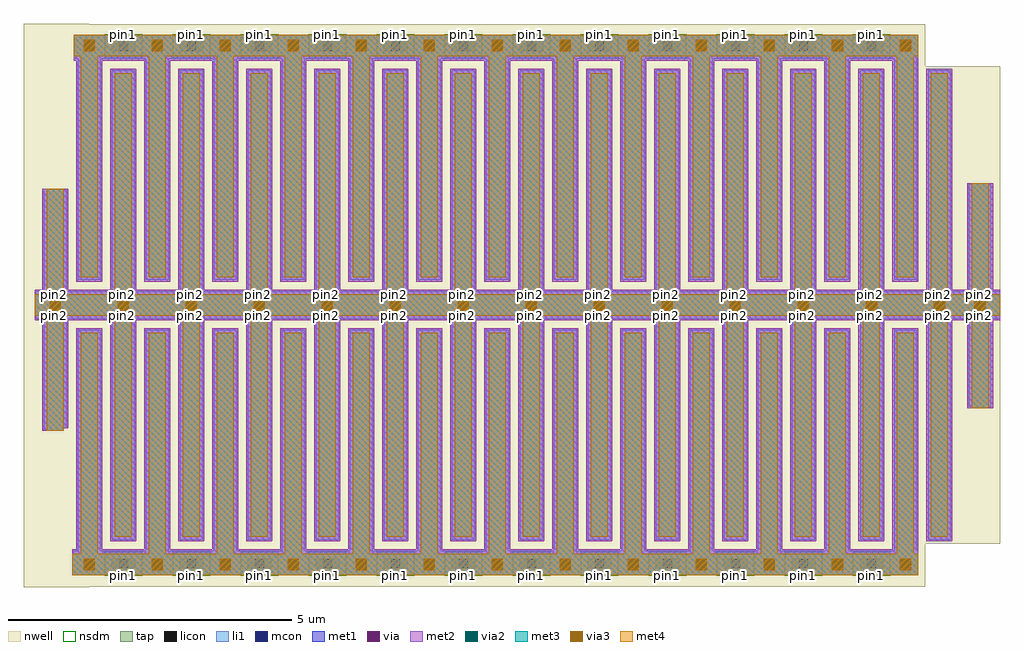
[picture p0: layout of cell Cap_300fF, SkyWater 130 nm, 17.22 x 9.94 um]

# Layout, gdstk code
import gdstk
lib = gdstk.Library(unit=1e-6, precision=1e-09)
def R(c, l, rs):  # rectangles x0, y0, x1, y1
    for r in rs: c.add(gdstk.rectangle(r[:2], r[2:], *l))
def A(c, l, x, y, w, h, nx, ny, dx, dy):  # array of equal rectangles
    R(c, l, [(x+i*dx, y+j*dy, x+i*dx+w, y+j*dy+h) for i in range(nx) for j in range(ny)])
nwell = (64, 20)
tap = (65, 44)
licon = (66, 44)
li1 = (67, 20)
mcon = (67, 44)
met1 = (68, 20)
via = (68, 44)
met2 = (69, 20)
via2 = (69, 44)
met3 = (70, 20)
via3 = (70, 44)
met4 = (71, 20)
nsdm = (93, 44)

cap_300ff = lib.new_cell('Cap_300fF')
R(cap_300ff, nwell, [(-1,-0.29,0.15,-0.28), (-1,-0.28,14.9,0.48), (-1,0.48,16.22,8.9), (-1,8.9,14.9,9.64), (-1,9.64,0.15,9.65)])
A(cap_300ff, tap, 0.55, 0.04, 0.41, 0.17, 12, 2, 1.2, 9.13)
A(cap_300ff, licon, 0.67, 0.04, 0.17, 0.17, 12, 2, 1.2, 9.13)
A(cap_300ff, li1, -0.05, 0.35, 0.4, 3.9, 13, 2, 1.2, 4.78)
A(cap_300ff, li1, 0.55, 0.55, 0.4, 3.9, 13, 2, 1.2, 4.38)
R(cap_300ff, li1, [(-0.15,-0.08,14.78,0.35), (-0.65,2.47,-0.3,2.51), (-0.65,2.51,-0.25,4.45), (15.67,2.87,16.07,4.45), (-0.81,4.45,16.22,4.93), (-0.65,4.93,-0.25,6.74), (15.67,4.93,16.07,6.84), (-0.12,9.03,14.78,9.46)])
A(cap_300ff, mcon, 0.065, 0.025, 0.17, 0.17, 13, 2, 1.2, 9.16)
A(cap_300ff, mcon, -0.535, 4.605, 0.17, 0.17, 14, 1, 1.2, 0)
R(cap_300ff, mcon, [(15.785,4.605,15.955,4.775)])
A(cap_300ff, met1, -0.08, 0.38, 0.46, 3.9, 13, 2, 1.2, 4.72)
A(cap_300ff, met1, 0.52, 0.52, 0.46, 3.9, 13, 2, 1.2, 4.44)
R(cap_300ff, met1, [(-0.15,-0.08,14.78,0.38), (-0.68,2.47,-0.3,2.51), (-0.68,2.51,-0.22,4.42), (15.64,2.87,16.1,4.42), (-0.81,4.42,16.22,4.96), (-0.68,4.96,-0.22,6.74), (15.64,4.96,16.1,6.84), (-0.12,9,14.78,9.46)])
A(cap_300ff, via, 0.075, 0.035, 0.15, 0.15, 13, 2, 1.2, 9.16)
A(cap_300ff, via, -0.525, 4.615, 0.15, 0.15, 14, 1, 1.2, 0)
R(cap_300ff, via, [(15.795,4.615,15.945,4.765)])
A(cap_300ff, met2, -0.08, 0.38, 0.46, 3.9, 13, 2, 1.2, 4.72)
A(cap_300ff, met2, 0.52, 0.52, 0.46, 3.9, 13, 2, 1.2, 4.44)
R(cap_300ff, met2, [(-0.15,-0.08,14.78,0.38), (-0.68,2.47,-0.3,2.51), (-0.68,2.51,-0.22,4.42), (15.64,2.87,16.1,4.42), (-0.81,4.42,16.22,4.96), (-0.68,4.96,-0.22,6.74), (15.64,4.96,16.1,6.84), (-0.12,9,14.78,9.46)])
A(cap_300ff, via2, 0.05, 0.01, 0.2, 0.2, 13, 2, 1.2, 9.16)
A(cap_300ff, via2, -0.55, 4.59, 0.2, 0.2, 14, 1, 1.2, 0)
R(cap_300ff, via2, [(15.77,4.59,15.97,4.79)])
A(cap_300ff, met3, 0, 0.3, 0.3, 3.9, 13, 2, 1.2, 4.88)
A(cap_300ff, met3, 0.6, 0.6, 0.3, 3.9, 13, 2, 1.2, 4.28)
R(cap_300ff, met3, [(-0.15,-0.08,14.78,0.3), (-0.6,2.47,-0.3,4.5), (15.72,2.87,16.02,4.5), (-0.81,4.5,16.22,4.88), (-0.6,4.88,-0.3,6.74), (15.72,4.88,16.02,6.84), (-0.12,9.08,14.78,9.46)])
A(cap_300ff, via3, 0.05, 0.01, 0.2, 0.2, 13, 2, 1.2, 9.16)
A(cap_300ff, via3, -0.55, 4.59, 0.2, 0.2, 14, 1, 1.2, 0)
R(cap_300ff, via3, [(15.77,4.59,15.97,4.79)])
A(cap_300ff, met4, 0, 0.3, 0.3, 3.9, 13, 2, 1.2, 4.88)
A(cap_300ff, met4, 0.6, 0.6, 0.3, 3.9, 13, 2, 1.2, 4.28)
R(cap_300ff, met4, [(-0.15,-0.08,14.78,0.3), (-0.6,2.47,-0.3,4.5), (15.72,2.87,16.02,4.5), (-0.81,4.5,16.22,4.88), (-0.6,4.88,-0.3,6.74), (15.72,4.88,16.02,6.84), (-0.12,9.08,14.78,9.46)])
A(cap_300ff, nsdm, 0.425, -0.085, 0.66, 0.42, 12, 2, 1.2, 9.13)
cap_300ff.add(gdstk.Label('pin1', (0.75,-0.08), layer=71, texttype=5))
cap_300ff.add(gdstk.Label('pin1', (1.95,-0.08), layer=71, texttype=5))
cap_300ff.add(gdstk.Label('pin1', (3.15,-0.08), layer=71, texttype=5))
cap_300ff.add(gdstk.Label('pin1', (3.15,9.46), layer=71, texttype=5))
cap_300ff.add(gdstk.Label('pin1', (1.95,9.46), layer=71, texttype=5))
cap_300ff.add(gdstk.Label('pin1', (0.75,9.46), layer=71, texttype=5))
cap_300ff.add(gdstk.Label('pin1', (4.35,-0.08), layer=71, texttype=5))
cap_300ff.add(gdstk.Label('pin1', (5.55,-0.08), layer=71, texttype=5))
cap_300ff.add(gdstk.Label('pin1', (6.75,-0.08), layer=71, texttype=5))
cap_300ff.add(gdstk.Label('pin1', (6.75,9.46), layer=71, texttype=5))
cap_300ff.add(gdstk.Label('pin1', (5.55,9.46), layer=71, texttype=5))
cap_300ff.add(gdstk.Label('pin1', (4.35,9.46), layer=71, texttype=5))
cap_300ff.add(gdstk.Label('pin1', (7.95,-0.08), layer=71, texttype=5))
cap_300ff.add(gdstk.Label('pin1', (9.15,-0.08), layer=71, texttype=5))
cap_300ff.add(gdstk.Label('pin1', (10.35,-0.08), layer=71, texttype=5))
cap_300ff.add(gdstk.Label('pin1', (10.35,9.46), layer=71, texttype=5))
cap_300ff.add(gdstk.Label('pin1', (9.15,9.46), layer=71, texttype=5))
cap_300ff.add(gdstk.Label('pin1', (7.95,9.46), layer=71, texttype=5))
cap_300ff.add(gdstk.Label('pin1', (11.55,-0.08), layer=71, texttype=5))
cap_300ff.add(gdstk.Label('pin1', (12.75,-0.08), layer=71, texttype=5))
cap_300ff.add(gdstk.Label('pin1', (13.95,-0.08), layer=71, texttype=5))
cap_300ff.add(gdstk.Label('pin1', (13.95,9.46), layer=71, texttype=5))
cap_300ff.add(gdstk.Label('pin1', (12.75,9.46), layer=71, texttype=5))
cap_300ff.add(gdstk.Label('pin1', (11.55,9.46), layer=71, texttype=5))
cap_300ff.add(gdstk.Label('pin2', (0.74,4.88), layer=71, texttype=5))
cap_300ff.add(gdstk.Label('pin2', (1.94,4.88), layer=71, texttype=5))
cap_300ff.add(gdstk.Label('pin2', (3.14,4.88), layer=71, texttype=5))
cap_300ff.add(gdstk.Label('pin2', (3.14,4.5), layer=71, texttype=5))
cap_300ff.add(gdstk.Label('pin2', (1.94,4.5), layer=71, texttype=5))
cap_300ff.add(gdstk.Label('pin2', (0.74,4.5), layer=71, texttype=5))
cap_300ff.add(gdstk.Label('pin2', (4.34,4.88), layer=71, texttype=5))
cap_300ff.add(gdstk.Label('pin2', (5.54,4.88), layer=71, texttype=5))
cap_300ff.add(gdstk.Label('pin2', (6.74,4.88), layer=71, texttype=5))
cap_300ff.add(gdstk.Label('pin2', (6.74,4.5), layer=71, texttype=5))
cap_300ff.add(gdstk.Label('pin2', (5.54,4.5), layer=71, texttype=5))
cap_300ff.add(gdstk.Label('pin2', (4.34,4.5), layer=71, texttype=5))
cap_300ff.add(gdstk.Label('pin2', (7.94,4.88), layer=71, texttype=5))
cap_300ff.add(gdstk.Label('pin2', (9.14,4.88), layer=71, texttype=5))
cap_300ff.add(gdstk.Label('pin2', (10.34,4.88), layer=71, texttype=5))
cap_300ff.add(gdstk.Label('pin2', (10.34,4.5), layer=71, texttype=5))
cap_300ff.add(gdstk.Label('pin2', (9.14,4.5), layer=71, texttype=5))
cap_300ff.add(gdstk.Label('pin2', (7.94,4.5), layer=71, texttype=5))
cap_300ff.add(gdstk.Label('pin2', (11.54,4.88), layer=71, texttype=5))
cap_300ff.add(gdstk.Label('pin2', (12.74,4.88), layer=71, texttype=5))
cap_300ff.add(gdstk.Label('pin2', (13.94,4.88), layer=71, texttype=5))
cap_300ff.add(gdstk.Label('pin2', (13.94,4.5), layer=71, texttype=5))
cap_300ff.add(gdstk.Label('pin2', (12.74,4.5), layer=71, texttype=5))
cap_300ff.add(gdstk.Label('pin2', (11.54,4.5), layer=71, texttype=5))
cap_300ff.add(gdstk.Label('pin2', (15.14,4.88), layer=71, texttype=5))
cap_300ff.add(gdstk.Label('pin2', (15.14,4.5), layer=71, texttype=5))
cap_300ff.add(gdstk.Label('pin2', (15.86,4.5), layer=71, texttype=5))
cap_300ff.add(gdstk.Label('pin2', (15.86,4.88), layer=71, texttype=5))
cap_300ff.add(gdstk.Label('pin2', (-0.46,4.88), layer=71, texttype=5))
cap_300ff.add(gdstk.Label('pin2', (-0.46,4.5), layer=71, texttype=5))

lib.write_gds('Cap_300fF.gds')
